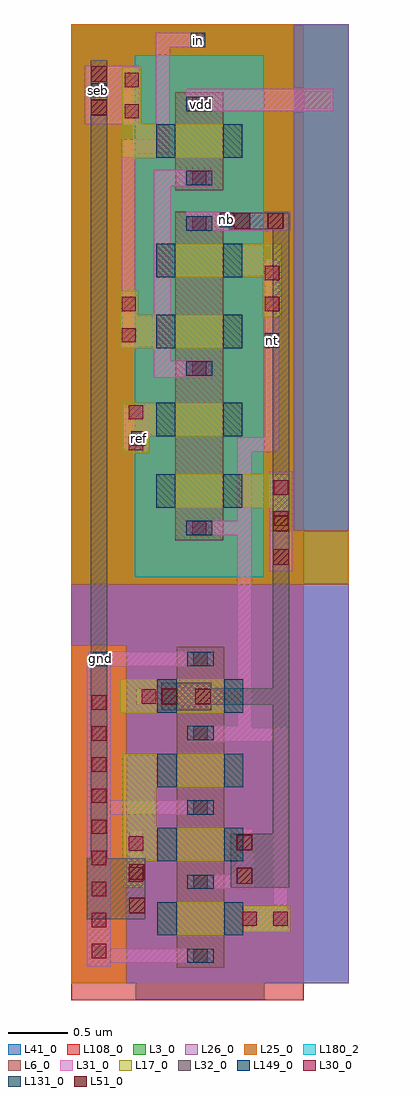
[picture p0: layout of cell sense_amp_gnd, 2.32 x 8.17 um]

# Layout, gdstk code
from math import pi, radians
import gdstk
lib = gdstk.Library(unit=1e-6, precision=1e-09)
def R(c, l, rs):  # rectangles x0, y0, x1, y1
    for r in rs: c.add(gdstk.rectangle(r[:2], r[2:], *l))
def A(c, l, x, y, w, h, nx, ny, dx, dy):  # array of equal rectangles
    R(c, l, [(x+i*dx, y+j*dy, x+i*dx+w, y+j*dy+h) for i in range(nx) for j in range(ny)])
L3_0 = (3, 0)
L6_0 = (6, 0)
L17_0 = (17, 0)
L25_0 = (25, 0)
L26_0 = (26, 0)
L30_0 = (30, 0)
L31_0 = (31, 0)
L32_0 = (32, 0)
L41_0 = (41, 0)
L51_0 = (51, 0)
L108_0 = (108, 0)
L131_0 = (131, 0)
L149_0 = (149, 0)
L180_2 = (180, 2)

pc_ct = lib.new_cell('pc_ct')
R(pc_ct, L30_0, [(0,0,0.12,0.12)])

nsvt25_cdns_585150304470 = lib.new_cell('nsvt25_CDNS_585150304470')
R(nsvt25_cdns_585150304470, L6_0, [(-0.27,0,0,0.4), (-0.27,0,0.55,0.4), (0.28,0,0.55,0.4)])
R(nsvt25_cdns_585150304470, L17_0, [(0,-0.16,0.28,0.56)])
R(nsvt25_cdns_585150304470, L26_0, [(-0.4,-0.36,0.68,0.76)])
R(nsvt25_cdns_585150304470, L31_0, [(-0.23,0.09,-0.11,0.31), (0.39,0.09,0.51,0.31)])
R(nsvt25_cdns_585150304470, L41_0, [(-0.54,-0.34,0.82,0.74)])
R(nsvt25_cdns_585150304470, L131_0, [(-0.23,0.09,-0.11,0.31), (0.39,0.09,0.51,0.31)])
R(nsvt25_cdns_585150304470, L149_0, [(0,-0.16,0.28,0), (0,0.4,0.28,0.56)])
r = gdstk.Reference(pc_ct, (0.39,0.14)); r.repetition = gdstk.Repetition(1, 1, v1=(0.26,0), v2=(0,0.26)); nsvt25_cdns_585150304470.add(r)
r = gdstk.Reference(pc_ct, (-0.23,0.14)); r.repetition = gdstk.Repetition(1, 1, v1=(0.26,0), v2=(0,0.26)); nsvt25_cdns_585150304470.add(r)
nsvt25_cdns_585150304470.add(gdstk.Label('d', (0.28,0), layer=6, texttype=0))
nsvt25_cdns_585150304470.add(gdstk.Label('s', (0,0), layer=6, texttype=0))
nsvt25_cdns_585150304470.add(gdstk.Label('d', (0.415,0.2), layer=127, texttype=0))
nsvt25_cdns_585150304470.add(gdstk.Label('s', (-0.135,0.2), layer=127, texttype=0))
nsvt25_cdns_585150304470.add(gdstk.Label('d', (0.45,0.2), layer=131, texttype=0))
nsvt25_cdns_585150304470.add(gdstk.Label('s', (-0.17,0.2), layer=131, texttype=0))
nsvt25_cdns_585150304470.add(gdstk.Label('g', (0.14,0.48), layer=149, texttype=0))
nsvt25_cdns_585150304470.add(gdstk.Label('g', (0.14,-0.08), layer=149, texttype=0))

psvt25_cdns_585150304471 = lib.new_cell('psvt25_CDNS_585150304471')
R(psvt25_cdns_585150304471, L3_0, [(-0.58,-0.34,0.86,0.74)])
R(psvt25_cdns_585150304471, L6_0, [(-0.27,0,0,0.4), (-0.27,0,0.55,0.4), (0.28,0,0.55,0.4)])
R(psvt25_cdns_585150304471, L17_0, [(0,-0.16,0.28,0.56)])
R(psvt25_cdns_585150304471, L31_0, [(-0.23,0.09,-0.11,0.31)])
R(psvt25_cdns_585150304471, L41_0, [(-0.58,-0.34,0.86,0.74)])
R(psvt25_cdns_585150304471, L131_0, [(-0.23,0.09,-0.11,0.31)])
R(psvt25_cdns_585150304471, L149_0, [(0,-0.16,0.28,0), (0,0.4,0.28,0.56)])
R(psvt25_cdns_585150304471, L180_2, [(-0.58,-0.34,0.86,0.74)])
r = gdstk.Reference(pc_ct, (-0.23,0.14)); r.repetition = gdstk.Repetition(1, 1, v1=(0.26,0), v2=(0,0.26)); psvt25_cdns_585150304471.add(r)
psvt25_cdns_585150304471.add(gdstk.Label('d', (0.28,0), layer=6, texttype=0))
psvt25_cdns_585150304471.add(gdstk.Label('s', (0,0), layer=6, texttype=0))
psvt25_cdns_585150304471.add(gdstk.Label('d', (0.415,0.2), layer=127, texttype=0))
psvt25_cdns_585150304471.add(gdstk.Label('s', (-0.135,0.2), layer=127, texttype=0))
psvt25_cdns_585150304471.add(gdstk.Label('s', (-0.17,0.2), layer=131, texttype=0))
psvt25_cdns_585150304471.add(gdstk.Label('g', (0.14,0.48), layer=149, texttype=0))
psvt25_cdns_585150304471.add(gdstk.Label('g', (0.14,-0.08), layer=149, texttype=0))
psvt25_cdns_585150304471.add(gdstk.Label('b', (0.14,0.2), layer=180, texttype=2))

psvt25_cdns_585150304472 = lib.new_cell('psvt25_CDNS_585150304472')
R(psvt25_cdns_585150304472, L6_0, [(-0.27,0,0,0.4), (-0.27,0,0.55,0.4), (0.28,0,0.55,0.4)])
R(psvt25_cdns_585150304472, L17_0, [(0,-0.16,0.28,0.56)])
R(psvt25_cdns_585150304472, L31_0, [(0.39,0.09,0.51,0.31)])
R(psvt25_cdns_585150304472, L41_0, [(-0.58,-0.34,0.86,0.74)])
R(psvt25_cdns_585150304472, L131_0, [(0.39,0.09,0.51,0.31)])
R(psvt25_cdns_585150304472, L149_0, [(0,-0.16,0.28,0), (0,0.4,0.28,0.56)])
R(psvt25_cdns_585150304472, L180_2, [(-0.58,-0.34,0.86,0.74)])
r = gdstk.Reference(pc_ct, (0.39,0.14)); r.repetition = gdstk.Repetition(1, 1, v1=(0.26,0), v2=(0,0.26)); psvt25_cdns_585150304472.add(r)
psvt25_cdns_585150304472.add(gdstk.Label('d', (0.28,0), layer=6, texttype=0))
psvt25_cdns_585150304472.add(gdstk.Label('s', (0,0), layer=6, texttype=0))
psvt25_cdns_585150304472.add(gdstk.Label('d', (0.415,0.2), layer=127, texttype=0))
psvt25_cdns_585150304472.add(gdstk.Label('s', (-0.135,0.2), layer=127, texttype=0))
psvt25_cdns_585150304472.add(gdstk.Label('d', (0.45,0.2), layer=131, texttype=0))
psvt25_cdns_585150304472.add(gdstk.Label('g', (0.14,0.48), layer=149, texttype=0))
psvt25_cdns_585150304472.add(gdstk.Label('g', (0.14,-0.08), layer=149, texttype=0))
psvt25_cdns_585150304472.add(gdstk.Label('b', (0.14,0.2), layer=180, texttype=2))

psvt25_cdns_585150304473 = lib.new_cell('psvt25_CDNS_585150304473')
R(psvt25_cdns_585150304473, L6_0, [(-0.27,0,0,0.4), (-0.27,0,0.55,0.4), (0.28,0,0.55,0.4)])
R(psvt25_cdns_585150304473, L17_0, [(0,-0.16,0.28,0.56)])
R(psvt25_cdns_585150304473, L31_0, [(-0.23,0.09,-0.11,0.31), (0.39,0.09,0.51,0.31)])
R(psvt25_cdns_585150304473, L41_0, [(-0.58,-0.34,0.86,0.74)])
R(psvt25_cdns_585150304473, L131_0, [(-0.23,0.09,-0.11,0.31), (0.39,0.09,0.51,0.31)])
R(psvt25_cdns_585150304473, L149_0, [(0,-0.16,0.28,0), (0,0.4,0.28,0.56)])
R(psvt25_cdns_585150304473, L180_2, [(-0.58,-0.34,0.86,0.74)])
r = gdstk.Reference(pc_ct, (0.39,0.14)); r.repetition = gdstk.Repetition(1, 1, v1=(0.26,0), v2=(0,0.26)); psvt25_cdns_585150304473.add(r)
r = gdstk.Reference(pc_ct, (-0.23,0.14)); r.repetition = gdstk.Repetition(1, 1, v1=(0.26,0), v2=(0,0.26)); psvt25_cdns_585150304473.add(r)
psvt25_cdns_585150304473.add(gdstk.Label('d', (0.28,0), layer=6, texttype=0))
psvt25_cdns_585150304473.add(gdstk.Label('s', (0,0), layer=6, texttype=0))
psvt25_cdns_585150304473.add(gdstk.Label('d', (0.415,0.2), layer=127, texttype=0))
psvt25_cdns_585150304473.add(gdstk.Label('s', (-0.135,0.2), layer=127, texttype=0))
psvt25_cdns_585150304473.add(gdstk.Label('d', (0.45,0.2), layer=131, texttype=0))
psvt25_cdns_585150304473.add(gdstk.Label('s', (-0.17,0.2), layer=131, texttype=0))
psvt25_cdns_585150304473.add(gdstk.Label('g', (0.14,0.48), layer=149, texttype=0))
psvt25_cdns_585150304473.add(gdstk.Label('g', (0.14,-0.08), layer=149, texttype=0))
psvt25_cdns_585150304473.add(gdstk.Label('b', (0.14,0.2), layer=180, texttype=2))

psvt25_cdns_585150304474 = lib.new_cell('psvt25_CDNS_585150304474')
R(psvt25_cdns_585150304474, L3_0, [(-0.58,-0.34,0.86,0.74)])
R(psvt25_cdns_585150304474, L6_0, [(-0.27,0,0,0.4), (-0.27,0,0.55,0.4), (0.28,0,0.55,0.4)])
R(psvt25_cdns_585150304474, L17_0, [(0,-0.16,0.28,0.56)])
R(psvt25_cdns_585150304474, L41_0, [(-0.58,-0.34,0.86,0.74)])
R(psvt25_cdns_585150304474, L149_0, [(0,-0.16,0.28,0), (0,0.4,0.28,0.56)])
R(psvt25_cdns_585150304474, L180_2, [(-0.58,-0.34,0.86,0.74)])
psvt25_cdns_585150304474.add(gdstk.Label('d', (0.28,0), layer=6, texttype=0))
psvt25_cdns_585150304474.add(gdstk.Label('s', (0,0), layer=6, texttype=0))
psvt25_cdns_585150304474.add(gdstk.Label('d', (0.415,0.2), layer=127, texttype=0))
psvt25_cdns_585150304474.add(gdstk.Label('s', (-0.135,0.2), layer=127, texttype=0))
psvt25_cdns_585150304474.add(gdstk.Label('g', (0.14,0.48), layer=149, texttype=0))
psvt25_cdns_585150304474.add(gdstk.Label('g', (0.14,-0.08), layer=149, texttype=0))
psvt25_cdns_585150304474.add(gdstk.Label('b', (0.14,0.2), layer=180, texttype=2))

nsvt25_cdns_585150304475 = lib.new_cell('nsvt25_CDNS_585150304475')
R(nsvt25_cdns_585150304475, L6_0, [(-0.27,0,0,0.4), (-0.27,0,0.55,0.4), (0.28,0,0.55,0.4)])
R(nsvt25_cdns_585150304475, L17_0, [(0,-0.16,0.28,0.56)])
R(nsvt25_cdns_585150304475, L26_0, [(-0.4,-0.36,0.68,0.76)])
R(nsvt25_cdns_585150304475, L31_0, [(0.39,0.09,0.51,0.31)])
R(nsvt25_cdns_585150304475, L41_0, [(-0.54,-0.34,0.82,0.74)])
R(nsvt25_cdns_585150304475, L131_0, [(0.39,0.09,0.51,0.31)])
R(nsvt25_cdns_585150304475, L149_0, [(0,-0.16,0.28,0), (0,0.4,0.28,0.56)])
r = gdstk.Reference(pc_ct, (0.39,0.14)); r.repetition = gdstk.Repetition(1, 1, v1=(0.26,0), v2=(0,0.26)); nsvt25_cdns_585150304475.add(r)
nsvt25_cdns_585150304475.add(gdstk.Label('d', (0.28,0), layer=6, texttype=0))
nsvt25_cdns_585150304475.add(gdstk.Label('s', (0,0), layer=6, texttype=0))
nsvt25_cdns_585150304475.add(gdstk.Label('d', (0.415,0.2), layer=127, texttype=0))
nsvt25_cdns_585150304475.add(gdstk.Label('s', (-0.135,0.2), layer=127, texttype=0))
nsvt25_cdns_585150304475.add(gdstk.Label('d', (0.45,0.2), layer=131, texttype=0))
nsvt25_cdns_585150304475.add(gdstk.Label('g', (0.14,0.48), layer=149, texttype=0))
nsvt25_cdns_585150304475.add(gdstk.Label('g', (0.14,-0.08), layer=149, texttype=0))

m1__po_cdns_585150304470 = lib.new_cell('M1__PO_CDNS_585150304470')
R(m1__po_cdns_585150304470, L17_0, [(-0.21,-0.11,0.21,0.11)])
R(m1__po_cdns_585150304470, L30_0, [(-0.19,-0.06,-0.07,0.06), (0.07,-0.06,0.19,0.06)])
R(m1__po_cdns_585150304470, L31_0, [(-0.19,-0.11,0.19,0.11)])

m2_m1_g_cdns_58515030447 = lib.new_cell('M2_M1_G_CDNS_585150304471')
R(m2_m1_g_cdns_58515030447, L31_0, [(-0.255,-0.07,0.255,0.07)])
R(m2_m1_g_cdns_58515030447, L32_0, [(-0.255,-0.07,0.255,0.07)])
R(m2_m1_g_cdns_58515030447, L51_0, [(-0.205,-0.065,-0.075,0.065), (0.075,-0.065,0.205,0.065)])

m1__po_cdns_585150304472 = lib.new_cell('M1__PO_CDNS_585150304472')
R(m1__po_cdns_585150304472, L17_0, [(-0.08,-0.24,0.08,0.24)])
R(m1__po_cdns_585150304472, L30_0, [(-0.06,-0.19,0.06,-0.07), (-0.06,0.07,0.06,0.19)])
R(m1__po_cdns_585150304472, L31_0, [(-0.06,-0.24,0.06,0.24)])

m2_m1_s_cdns_58515030447 = lib.new_cell('M2_M1_S_CDNS_585150304473')
R(m2_m1_s_cdns_58515030447, L31_0, [(-0.07,-0.255,0.07,0.255)])
R(m2_m1_s_cdns_58515030447, L32_0, [(-0.115,-0.21,0.115,0.21)])
R(m2_m1_s_cdns_58515030447, L51_0, [(-0.065,-0.205,0.065,-0.075), (-0.065,0.075,0.065,0.205)])

c_m2_m1_s_cdns_58515030447 = lib.new_cell('M2_M1_S_CDNS_585150304474')
R(c_m2_m1_s_cdns_58515030447, L31_0, [(-0.21,-0.115,0.21,0.115)])
R(c_m2_m1_s_cdns_58515030447, L32_0, [(-0.255,-0.07,0.255,0.07)])
R(c_m2_m1_s_cdns_58515030447, L51_0, [(-0.205,-0.065,-0.075,0.065), (0.075,-0.065,0.205,0.065)])

m1__po_cdns_585150304475 = lib.new_cell('M1__PO_CDNS_585150304475')
R(m1__po_cdns_585150304475, L17_0, [(-0.08,-0.11,0.08,0.11)])
R(m1__po_cdns_585150304475, L30_0, [(-0.06,-0.06,0.06,0.06)])
R(m1__po_cdns_585150304475, L31_0, [(-0.06,-0.11,0.06,0.11)])

sense_amp_gnd = lib.new_cell('sense_amp_gnd')
R(sense_amp_gnd, L3_0, [(0,-4.46,2.32,0.125), (0,0.125,2.32,0.23)])
R(sense_amp_gnd, L17_0, [(0.43,-7,0.46,-6.98), (0.43,-6.98,0.47,-6.78), (0.41,-5.535,0.72,-5.255), (1.43,-3.82,1.68,-3.54), (0.65,-3.22,0.71,-2.94), (0.56,-2.485,0.57,-2.205), (1.43,-1.89,1.6,-1.61), (1.6,-1.745,1.76,-1.61)])
R(sense_amp_gnd, L25_0, [(0,-7.8,0.46,-7.79), (0,-4.975,0.46,-4.97), (0,-4.46,2.32,-4.01), (0,-4.01,1.86,0.125), (0,0.125,1.86,0.23)])
R(sense_amp_gnd, L26_0, [(0.46,-7.8,0.52,-4.97), (0.52,-7.8,2.32,-4.97), (0,-4.97,2.32,-4.46), (1.86,-4.01,2.32,0.125), (1.86,0.125,2.32,0.23)])
A(sense_amp_gnd, L30_0, 0.17, -7.59, 0.12, 0.12, 1, 9, 0, 0.26)
R(sense_amp_gnd, L31_0, [(0.97,-5.78,1.15,-5.765), (1.19,-5.66,1.42,-5.65), (1.19,-5.65,1.42,-5.645), (1.66,-4.35,1.85,-3.8), (1.66,-3.8,1.85,-3.52), (0.96,-2.73,1.18,-2.59), (0.96,-1.5,1.83,-1.34), (1.045,-1.13,1.19,-0.99), (0.115,-0.61,0.345,-0.54), (0.17,-0.61,0.29,-0.54), (0.345,-0.61,0.445,-0.12), (1.99,-0.5,2.19,-0.31), (0.96,-0.38,1.99,-0.31), (0.445,-0.13,0.565,-0.12)])
R(sense_amp_gnd, L32_0, [(0.13,-7.265,0.48,-6.755), (1.335,-7,1.565,-6.97), (1.565,-7,1.685,-6.55)])
R(sense_amp_gnd, L41_0, [(0,-7.8,2.32,0.23)])
R(sense_amp_gnd, L108_0, [(0,-7.94,1.945,0.23)])
R(sense_amp_gnd, L131_0, [(0.18,-5.145,0.3,-5.025), (0.5,-3.3,0.62,-3.18), (1.62,-2.48,1.74,-2.36), (1.24,-1.47,1.36,-1.35), (1.03,-0.5,1.15,-0.38), (0.17,-0.385,0.29,-0.265), (1,0.035,1.12,0.155)])
sense_amp_gnd.add(gdstk.FlexPath([(0.65,-5.4),(1.09,-5.4)], 0.14, ends=(0.11, 0), simple_path=True, layer=31, datatype=0))  # L31_0
sense_amp_gnd.add(gdstk.FlexPath([(0.765,0.095),(0.765,-0.795)], 0.12, ends="extended", simple_path=True, layer=31, datatype=0))  # L31_0
sense_amp_gnd.add(gdstk.FlexPath([(1.025,-6.33),(0.23,-6.33)], 0.12, ends="flush", simple_path=True, layer=31, datatype=0))  # L31_0
sense_amp_gnd.add(gdstk.FlexPath([(1.005,-7.57),(0.23,-7.57)], 0.12, ends="flush", simple_path=True, layer=31, datatype=0))  # L31_0
sense_amp_gnd.add(gdstk.FlexPath([(0.765,-0.795),(0.48,-0.795)], 0.12, ends="extended", simple_path=True, layer=31, datatype=0))  # L31_0
sense_amp_gnd.add(gdstk.FlexPath([(1.18,-0.44),(2.09,-0.44)], 0.12, ends="flush", simple_path=True, layer=31, datatype=0))  # L31_0
sense_amp_gnd.add(gdstk.FlexPath([(0.995,-5.085),(0.14,-5.085)], 0.12, ends="flush", simple_path=True, layer=31, datatype=0))  # L31_0
sense_amp_gnd.add(gdstk.FlexPath([(0.23,-7.66),(0.23,-5.105)], 0.2, ends="flush", simple_path=True, layer=31, datatype=0))  # L31_0
sense_amp_gnd.add(gdstk.FlexPath([(1.45,-5.72),(1.15,-5.72)], 0.12, ends=(0.06, 0), simple_path=True, layer=31, datatype=0))  # L31_0
sense_amp_gnd.add(gdstk.FlexPath([(0.48,-0.795),(0.48,-2.005)], 0.12, ends=(0.06, 0), simple_path=True, layer=31, datatype=0))  # L31_0
sense_amp_gnd.add(gdstk.FlexPath([(1.45,-3.99),(1.45,-5.72)], 0.12, ends="extended", simple_path=True, layer=31, datatype=0))  # L31_0
sense_amp_gnd.add(gdstk.FlexPath([(1.045,-1.06),(0.76,-1.06)], 0.14, ends=(0, 0.07), simple_path=True, layer=31, datatype=0))  # L31_0
sense_amp_gnd.add(gdstk.FlexPath([(0.76,-1.06),(0.76,-2.66)], 0.14, ends="extended", simple_path=True, layer=31, datatype=0))  # L31_0
sense_amp_gnd.add(gdstk.FlexPath([(0.76,-2.66),(0.96,-2.66)], 0.14, ends=(0.07, 0), simple_path=True, layer=31, datatype=0))  # L31_0
sense_amp_gnd.add(gdstk.FlexPath([(1.06,0.095),(1.12,0.095)], 0.12, ends="flush", simple_path=True, layer=31, datatype=0))  # L31_0
sense_amp_gnd.add(gdstk.FlexPath([(1.06,0.095),(0.765,0.095)], 0.12, ends=(0, 0.06), simple_path=True, layer=31, datatype=0))  # L31_0
sense_amp_gnd.add(gdstk.FlexPath([(1.175,-6.95),(1.45,-6.95)], 0.12, ends=(0, 0.06), simple_path=True, layer=31, datatype=0))  # L31_0
sense_amp_gnd.add(gdstk.FlexPath([(1.68,-1.85),(1.68,-3.29)], 0.12, ends=(0, 0.06), simple_path=True, layer=31, datatype=0))  # L31_0
sense_amp_gnd.add(gdstk.FlexPath([(1.45,-3.99),(1.18,-3.99)], 0.12, ends=(0.06, 0), simple_path=True, layer=31, datatype=0))  # L31_0
sense_amp_gnd.add(gdstk.FlexPath([(1.18,-1.44),(1.82,-1.44)], 0.12, ends="flush", simple_path=True, layer=31, datatype=0))  # L31_0
sense_amp_gnd.add(gdstk.FlexPath([(1.68,-3.29),(1.45,-3.29)], 0.12, ends="extended", simple_path=True, layer=31, datatype=0))  # L31_0
sense_amp_gnd.add(gdstk.FlexPath([(1.45,-3.29),(1.45,-3.99)], 0.12, ends="extended", simple_path=True, layer=31, datatype=0))  # L31_0
sense_amp_gnd.add(gdstk.FlexPath([(1.45,-5.72),(1.75,-5.72)], 0.12, ends="extended", simple_path=True, layer=31, datatype=0))  # L31_0
sense_amp_gnd.add(gdstk.FlexPath([(1.75,-5.72),(1.75,-7.26)], 0.12, ends="extended", simple_path=True, layer=31, datatype=0))  # L31_0
sense_amp_gnd.add(gdstk.FlexPath([(1.75,-7.26),(1.62,-7.26)], 0.12, ends=(0.06, 0), simple_path=True, layer=31, datatype=0))  # L31_0
sense_amp_gnd.add(gdstk.FlexPath([(1.45,-6.95),(1.45,-6.76)], 0.12, ends=(0.06, 0), simple_path=True, layer=31, datatype=0))  # L31_0
sense_amp_gnd.add(gdstk.FlexPath([(0.23,-7.66),(0.23,-5.105)], 0.2, ends="flush", simple_path=True, layer=6, datatype=0))  # L6_0
sense_amp_gnd.add(gdstk.FlexPath([(0.71,-0.75),(0.425,-0.75)], 0.28, ends="flush", simple_path=True, layer=17, datatype=0))  # L17_0
sense_amp_gnd.add(gdstk.FlexPath([(0.71,-2.345),(0.57,-2.345)], 0.28, ends="flush", simple_path=True, layer=17, datatype=0))  # L17_0
sense_amp_gnd.add(gdstk.FlexPath([(0.72,-6.02),(0.57,-6.02)], 0.28, ends=(0, 0.14), simple_path=True, layer=17, datatype=0))  # L17_0
sense_amp_gnd.add(gdstk.FlexPath([(0.57,-6.02),(0.57,-6.64)], 0.28, ends="extended", simple_path=True, layer=17, datatype=0))  # L17_0
sense_amp_gnd.add(gdstk.FlexPath([(0.57,-6.64),(0.72,-6.64)], 0.28, ends=(0.14, 0), simple_path=True, layer=17, datatype=0))  # L17_0
sense_amp_gnd.add(gdstk.FlexPath([(0.23,-7.79),(0.23,-4.975)], 0.46, ends="flush", simple_path=True, layer=25, datatype=0))  # L25_0
sense_amp_gnd.add(gdstk.FlexPath([(0.23,-0.33),(0.23,-7.265)], 0.14, ends="flush", simple_path=True, layer=32, datatype=0))  # L32_0
sense_amp_gnd.add(gdstk.FlexPath([(1.755,-1.42),(1.755,-5.4)], 0.14, ends="extended", simple_path=True, layer=32, datatype=0))  # L32_0
sense_amp_gnd.add(gdstk.FlexPath([(0.96,-5.4),(0.96,-5.41)], 0.14, ends=(0.07, 0), simple_path=True, layer=32, datatype=0))  # L32_0
sense_amp_gnd.add(gdstk.FlexPath([(1.755,-5.4),(0.96,-5.4)], 0.14, ends="extended", simple_path=True, layer=32, datatype=0))  # L32_0
sense_amp_gnd.add(gdstk.FlexPath([(1.755,-5.4),(1.755,-7)], 0.14, ends=(0.07, 0), simple_path=True, layer=32, datatype=0))  # L32_0
sense_amp_gnd.add(gdstk.FlexPath([(1.57,-1.42),(1.755,-1.42)], 0.14, ends=(0, 0.07), simple_path=True, layer=32, datatype=0))  # L32_0
sense_amp_gnd.add(gdstk.Reference(nsvt25_cdns_585150304470, (1.28,-6.5), rotation=3*pi/2, x_reflection=True))
sense_amp_gnd.add(gdstk.Reference(nsvt25_cdns_585150304470, (1.28,-5.255), rotation=3*pi/2, x_reflection=True))
sense_amp_gnd.add(gdstk.Reference(nsvt25_cdns_585150304470, (1.28,-7.12), rotation=3*pi/2, x_reflection=True))
sense_amp_gnd.add(gdstk.Reference(psvt25_cdns_585150304471, (0.87,-2.485), rotation=pi/2, x_reflection=True))
sense_amp_gnd.add(gdstk.Reference(psvt25_cdns_585150304471, (1.27,-1.61), rotation=3*pi/2, x_reflection=True))
sense_amp_gnd.add(gdstk.Reference(psvt25_cdns_585150304472, (1.27,-3.54), rotation=3*pi/2, x_reflection=True))
sense_amp_gnd.add(gdstk.Reference(psvt25_cdns_585150304473, (1.27,-0.61), rotation=3*pi/2, x_reflection=True))
sense_amp_gnd.add(gdstk.Reference(psvt25_cdns_585150304474, (0.87,-3.22), rotation=pi/2, x_reflection=True))
sense_amp_gnd.add(gdstk.Reference(nsvt25_cdns_585150304475, (1.28,-5.88), rotation=3*pi/2, x_reflection=True))
sense_amp_gnd.add(gdstk.Reference(m1__po_cdns_585150304470, (0.54,-3.15), rotation=pi/2, x_reflection=True))
sense_amp_gnd.add(gdstk.Reference(m1__po_cdns_585150304470, (1.62,-7.26), rotation=pi, x_reflection=True))
sense_amp_gnd.add(gdstk.Reference(m2_m1_g_cdns_58515030447, (0.55,-7.01), rotation=pi/2, x_reflection=True))
sense_amp_gnd.add(gdstk.Reference(m2_m1_g_cdns_58515030447, (1.755,-4.09), rotation=pi/2, x_reflection=True))
sense_amp_gnd.add(gdstk.Reference(m2_m1_g_cdns_58515030447, (1.57,-1.42), rotation=pi, x_reflection=True))
sense_amp_gnd.add(gdstk.Reference(m1__po_cdns_585150304472, (0.505,-0.37), x_reflection=True))
sense_amp_gnd.add(gdstk.Reference(m1__po_cdns_585150304472, (0.54,-6.76), x_reflection=True))
sense_amp_gnd.add(gdstk.Reference(m1__po_cdns_585150304472, (0.48,-2.245), x_reflection=True))
sense_amp_gnd.add(gdstk.Reference(m1__po_cdns_585150304472, (1.68,-1.985), rotation=pi, x_reflection=True))
sense_amp_gnd.add(gdstk.Reference(m1__po_cdns_585150304472, (1.755,-3.78), rotation=pi, x_reflection=True))
sense_amp_gnd.add(gdstk.Reference(m2_m1_s_cdns_58515030447, (0.96,-5.4), rotation=pi/2, x_reflection=True))
sense_amp_gnd.add(gdstk.Reference(m2_m1_s_cdns_58515030447, (1.45,-6.76), rotation=pi, x_reflection=True))
sense_amp_gnd.add(gdstk.Reference(c_m2_m1_s_cdns_58515030447, (0.23,-0.33), rotation=pi/2, x_reflection=True))
sense_amp_gnd.add(gdstk.Reference(m1__po_cdns_585150304475, (0.65,-5.4), rotation=3*pi/2, x_reflection=True))
sense_amp_gnd.add(gdstk.Label('nt', (1.68,-2.42), layer=131, texttype=0))
sense_amp_gnd.add(gdstk.Label('nb', (1.3,-1.41), layer=131, texttype=0))
sense_amp_gnd.add(gdstk.Label('seb', (0.23,-0.325), layer=131, texttype=0))
sense_amp_gnd.add(gdstk.Label('vdd', (1.09,-0.44), layer=131, texttype=0))
sense_amp_gnd.add(gdstk.Label('gnd', (0.24,-5.085), layer=131, texttype=0))
sense_amp_gnd.add(gdstk.Label('ref', (0.56,-3.24), layer=131, texttype=0))
sense_amp_gnd.add(gdstk.Label('in', (1.06,0.095), layer=131, texttype=0))

lib.write_gds('sense_amp_gnd.gds')
